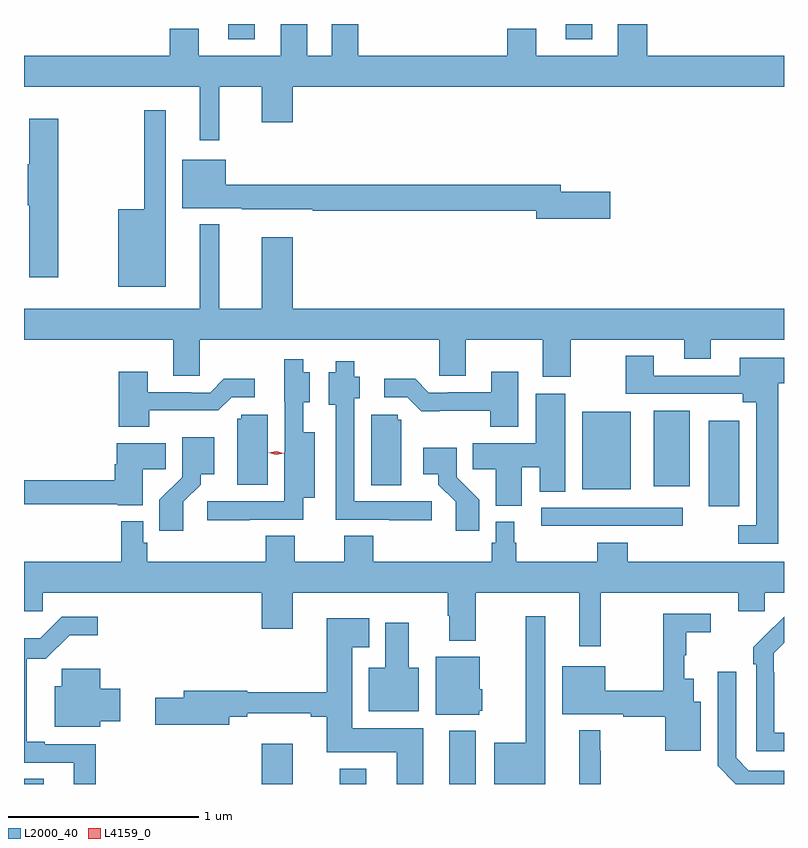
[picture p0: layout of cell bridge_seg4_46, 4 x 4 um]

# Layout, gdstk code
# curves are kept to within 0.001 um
import gdstk
lib = gdstk.Library(unit=1e-6, precision=1e-09)
def R(c, l, rs):  # rectangles x0, y0, x1, y1
    for r in rs: c.add(gdstk.rectangle(r[:2], r[2:], *l))
def P(c, l, *ps):  # polygons
    for p in ps: c.add(gdstk.Polygon(p, *l))
L2000_40 = (2000, 40)
L4159_0 = (4159, 0)

bridge_seg4_46 = lib.new_cell('bridge_seg4_46')
R(bridge_seg4_46, L2000_40, [(667.253,802.474,667.357,802.502), (668.504,802.474,668.668,802.687), (668.915,802.474,669.055,802.555), (669.491,802.474,669.631,802.753), (669.975,803.832,670.72,803.928), (670.856,803.937,671.017,804.385), (670.19,804.026,670.447,804.433), (670.568,804.041,670.756,804.439), (668.327,806.394,668.467,806.474), (670.103,806.394,670.243,806.474), (667.526,806.472,667.657,806.474), (669.302,806.472,669.433,806.474)])
P(bridge_seg4_46, L2000_40, [(668.281,806.144),(668.504,806.144),(668.504,805.956),(668.668,805.956),(668.668,806.144),(671.253,806.144),(671.253,806.308),(670.532,806.308),(670.532,806.474),(670.379,806.474),(670.379,806.308),(669.949,806.308),(669.949,806.449),(669.797,806.449),(669.797,806.308),(669.013,806.308),(669.013,806.474),(668.873,806.474),(668.873,806.308),(668.743,806.308),(668.743,806.474),(668.603,806.474),(668.603,806.308),(668.173,806.308),(668.173,806.449),(668.021,806.449),(668.021,806.308),(667.253,806.308),(667.253,806.144),(668.177,806.144),(668.177,805.863),(668.281,805.863)],
  [(667.999,806.02),(667.885,806.02),(667.885,805.498),(667.748,805.498),(667.748,805.091),(667.999,805.091)],
  [(667.434,805.975),(667.28,805.975),(667.28,805.736),(667.273,805.736),(667.273,805.519),(667.28,805.519),(667.28,805.14),(667.434,805.14)],
  [(670.339,805.592),(670.078,805.592),(670.078,805.628),(668.772,805.628),(668.772,805.629),(668.314,805.629),(668.314,805.759),(668.087,805.759),(668.087,805.505),(668.4,805.505),(668.4,805.499),(668.772,805.499),(668.772,805.492),(669.95,805.492),(669.95,805.45),(670.339,805.45)],
  [(670.131,804.812),(670.727,804.812),(670.727,804.713),(670.867,804.713),(670.867,804.812),(671.253,804.812),(671.253,804.976),(668.668,804.976),(668.668,805.351),(668.504,805.351),(668.504,804.976),(668.281,804.976),(668.281,805.42),(668.177,805.42),(668.177,804.976),(667.253,804.976),(667.253,804.812),(668.039,804.812),(668.039,804.622),(668.178,804.622),(668.178,804.812),(669.438,804.812),(669.438,804.622),(669.577,804.622),(669.577,804.812),(669.983,804.812),(669.983,804.618),(670.131,804.618)],
  [(671.222,804.584),(671.253,804.584),(671.253,804.718),(671.021,804.718),(671.021,804.624),(670.567,804.624),(670.567,804.727),(670.42,804.727),(670.42,804.528),(671.036,804.528),(671.036,804.482),(671.106,804.482),(671.106,803.835),(671.013,803.835),(671.013,803.739),(671.222,803.739)],
  [(668.441,803.865),(668.722,803.865),(668.722,803.981),(668.782,803.981),(668.782,804.325),(668.722,804.325),(668.722,804.482),(668.758,804.482),(668.758,804.64),(668.722,804.64),(668.722,804.709),(668.624,804.709),(668.624,804.486),(668.625,804.486),(668.625,804.221),(668.624,804.221),(668.624,803.961),(668.217,803.961),(668.217,803.863),(668.441,803.863)],
  [(669.4,803.961),(668.991,803.961),(668.991,804.504),(669.019,804.504),(669.019,804.618),(668.992,804.618),(668.992,804.7),(668.894,804.7),(668.894,804.64),(668.858,804.64),(668.858,804.47),(668.895,804.47),(668.895,803.865),(669.175,803.865),(669.175,803.863),(669.4,803.863)],
  [(667.911,804.44),(668.275,804.44),(668.346,804.51),(668.467,804.51),(668.467,804.607),(668.305,804.607),(668.232,804.534),(668.132,804.534),(668.132,804.537),(667.903,804.537),(667.903,804.643),(667.751,804.643),(667.751,804.353),(667.911,804.353)],
  [(669.853,804.643),(669.713,804.643),(669.713,804.537),(669.484,804.537),(669.484,804.534),(669.384,804.534),(669.311,804.607),(669.15,804.607),(669.15,804.51),(669.27,804.51),(669.343,804.437),(669.706,804.438),(669.706,804.353),(669.853,804.353)],
  [(669.874,804.14),(669.968,804.14),(669.968,804.013),(670.102,804.013),(670.102,804.529),(669.947,804.529),(669.947,804.268),(669.616,804.268),(669.616,804.13),(669.737,804.13),(669.737,803.939),(669.874,803.939)],
  [(669.238,804.39),(669.219,804.39),(669.219,804.417),(669.08,804.417),(669.08,804.046),(669.238,804.046)],
  [(668.536,804.417),(668.397,804.417),(668.397,804.396),(668.375,804.396),(668.375,804.048),(668.536,804.048)],
  [(668.092,803.959),(668.182,804.049),(668.182,804.104),(668.254,804.104),(668.254,804.298),(668.085,804.298),(668.085,804.089),(667.966,803.97),(667.966,803.808),(668.092,803.808)],
  [(667.879,804.13),(668,804.13),(668,804.268),(667.742,804.268),(667.742,804.158),(667.73,804.158),(667.73,804.074),(667.253,804.074),(667.253,803.946),(667.746,803.946),(667.746,803.942),(667.879,803.942)],
  [(669.65,803.97),(669.531,804.089),(669.531,804.244),(669.354,804.244),(669.354,804.104),(669.434,804.104),(669.434,804.049),(669.525,803.959),(669.525,803.808),(669.65,803.808)],
  [(670.289,803.48),(671.012,803.48),(671.012,803.382),(671.151,803.382),(671.151,803.48),(671.253,803.48),(671.253,803.644),(670.43,803.644),(670.43,803.743),(670.27,803.743),(670.27,803.644),(669.844,803.644),(669.844,803.745),(669.832,803.745),(669.832,803.854),(669.735,803.854),(669.735,803.745),(669.715,803.745),(669.715,803.644),(669.092,803.644),(669.092,803.78),(668.939,803.78),(668.939,803.644),(668.677,803.644),(668.677,803.78),(668.525,803.78),(668.525,803.644),(667.901,803.644),(667.901,803.745),(667.881,803.745),(667.881,803.857),(667.765,803.857),(667.765,803.644),(667.253,803.644),(667.253,803.382),(667.351,803.382),(667.351,803.48),(668.504,803.48),(668.504,803.292),(668.668,803.292),(668.668,803.48),(669.484,803.48),(669.484,803.36),(669.491,803.36),(669.491,803.228),(669.631,803.228),(669.631,803.48),(670.175,803.48),(670.175,803.199),(670.289,803.199)],
  [(670.816,802.906),(670.777,802.906),(670.777,803.029),(670.727,803.029),(670.727,803.151),(670.738,803.151),(670.738,803.272),(670.867,803.272),(670.867,803.37),(670.617,803.37),(670.617,802.964),(670.312,802.964),(670.312,803.095),(670.085,803.095),(670.085,802.841),(670.408,802.841),(670.408,802.828),(670.628,802.828),(670.628,802.649),(670.816,802.649)],
  [(669.997,803.356),(669.893,803.356),(669.893,802.69),(669.728,802.69),(669.728,802.474),(669.997,802.474)],
  [(667.631,802.683),(667.363,802.683),(667.363,802.696),(667.267,802.696),(667.267,803.133),(667.367,803.133),(667.493,803.258),(667.642,803.258),(667.642,803.355),(667.452,803.355),(667.339,803.242),(667.253,803.242),(667.253,802.587),(667.514,802.587),(667.514,802.474),(667.631,802.474)],
  [(671.253,802.743),(671.202,802.743),(671.202,803.063),(671.199,803.063),(671.199,803.163),(671.253,803.217),(671.253,803.353),(671.091,803.193),(671.091,803.105),(671.106,803.105),(671.106,802.647),(671.253,802.647)],
  [(669.355,802.768),(668.98,802.768),(668.98,803.195),(669.07,803.195),(669.07,803.347),(668.846,803.347),(668.846,802.957),(668.428,802.957),(668.428,802.964),(668.093,802.964),(668.093,802.928),(667.944,802.928),(667.944,802.786),(668.332,802.786),(668.332,802.828),(668.428,802.828),(668.428,802.847),(668.762,802.847),(668.762,802.828),(668.846,802.828),(668.846,802.64),(669.215,802.64),(669.215,802.474),(669.355,802.474)],
  [(669.331,803.086),(669.277,803.086),(669.277,803.323),(669.155,803.323),(669.155,803.086),(669.068,803.086),(669.068,802.856),(669.331,802.856)],
  [(669.648,802.86),(669.664,802.86),(669.664,802.974),(669.652,802.974),(669.652,803.143),(669.419,803.143),(669.419,802.838),(669.648,802.838)],
  [(667.654,802.805),(667.759,802.805),(667.759,802.975),(667.654,802.975),(667.654,803.08),(667.451,803.08),(667.451,802.988),(667.415,802.988),(667.415,802.775),(667.654,802.775)],
  [(671.253,802.545),(671.067,802.545),(671.001,802.611),(671.001,803.065),(670.905,803.065),(670.905,802.569),(671,802.474),(671.253,802.474)],
  [(670.289,802.649),(670.286,802.649),(670.286,802.756),(670.175,802.756),(670.175,802.474),(670.289,802.474)])
P(bridge_seg4_46, L4159_0, [(668.58,804.206),(668.54,804.217),(668.539,804.217),(668.54,804.217),(668.581,804.226),(668.621,804.215),(668.622,804.215),(668.621,804.215)])

lib.write_gds('bridge_seg4_46.gds')
